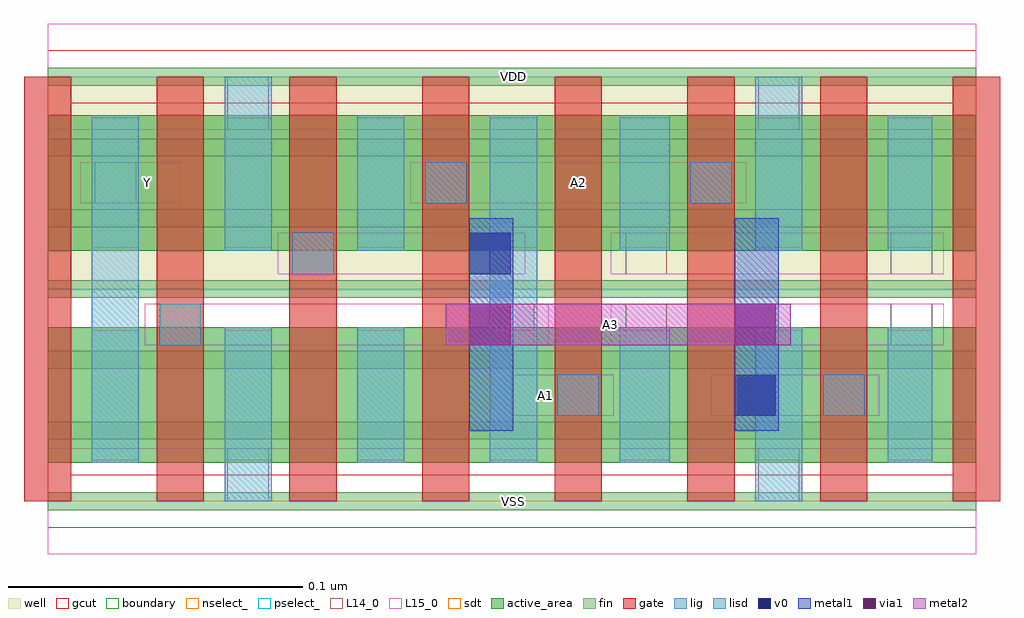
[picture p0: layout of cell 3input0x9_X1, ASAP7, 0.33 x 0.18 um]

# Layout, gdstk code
import gdstk
lib = gdstk.Library(unit=1e-6, precision=1e-09)
def R(c, l, rs):  # rectangles x0, y0, x1, y1
    for r in rs: c.add(gdstk.rectangle(r[:2], r[2:], *l))
def A(c, l, x, y, w, h, nx, ny, dx, dy):  # array of equal rectangles
    R(c, l, [(x+i*dx, y+j*dy, x+i*dx+w, y+j*dy+h) for i in range(nx) for j in range(ny)])
def P(c, l, *ps):  # polygons
    for p in ps: c.add(gdstk.Polygon(p, *l))
well = (1, 0)
fin = (2, 0)
gate = (7, 0)
gcut = (10, 0)
active_area = (11, 0)
nselect_ = (12, 0)
pselect_ = (13, 0)
L14_0 = (14, 0)
L15_0 = (15, 0)
lig = (16, 0)
lisd = (17, 0)
v0 = (18, 0)
metal1 = (19, 0)
metal2 = (20, 0)
via1 = (21, 0)
sdt = (88, 0)
boundary = (100, 0)

c_3input0x9_x1 = lib.new_cell('3input0x9_X1')
R(c_3input0x9_x1, well, [(0,0.072,0.315,0.144)])
A(c_3input0x9_x1, fin, 0, -0.003, 0.315, 0.006, 1, 7, 0, 0.024)
A(c_3input0x9_x1, gate, -0.008, 0, 0.016, 0.144, 8, 1, 0.045, 0)
P(c_3input0x9_x1, gcut, [(0,-0.009),(0,0),(-0.008,0),(-0.008,0.135),(0.008,0.135),(0.008,0.009),(0.307,0.009),(0.307,0.135),(-0.008,0.135),(-0.008,0.144),(0,0.144),(0,0.153),(0.315,0.153),(0.315,0.144),(0.323,0.144),(0.323,0),(0.315,0),(0.315,-0.009)])
R(c_3input0x9_x1, active_area, [(0,0.013,0.315,0.059), (0,0.085,0.315,0.131)])
R(c_3input0x9_x1, nselect_, [(0,0,0.315,0.072)])
R(c_3input0x9_x1, pselect_, [(0,0.072,0.315,0.144)])
R(c_3input0x9_x1, L14_0, [(0.061,0,0.075,0.018), (0.241,0,0.255,0.018), (0.173,0.029,0.187,0.043), (0.263,0.029,0.277,0.043), (0.038,0.053,0.052,0.067), (0.15,0.053,0.165,0.067), (0.196,0.053,0.21,0.067), (0.286,0.053,0.3,0.067), (0.083,0.077,0.097,0.091), (0.196,0.077,0.21,0.091), (0.286,0.077,0.3,0.091), (0.016,0.101,0.03,0.115), (0.128,0.101,0.142,0.115), (0.218,0.101,0.232,0.115), (0.061,0.126,0.075,0.144), (0.241,0.126,0.255,0.144)])
R(c_3input0x9_x1, L15_0, [(0,-0.018,0.315,0.018), (0.158,0.029,0.192,0.043), (0.225,0.029,0.282,0.043), (0.033,0.053,0.17,0.067), (0.191,0.053,0.304,0.067), (0.078,0.077,0.162,0.091), (0.191,0.077,0.304,0.091), (0.011,0.101,0.045,0.115), (0.123,0.101,0.237,0.115), (0,0.126,0.315,0.162)])
R(c_3input0x9_x1, lig, [(0.173,0.029,0.187,0.043), (0.263,0.029,0.277,0.043), (0.038,0.053,0.052,0.067), (0.083,0.077,0.097,0.091), (0.128,0.101,0.142,0.115), (0.218,0.101,0.232,0.115)])
R(c_3input0x9_x1, lisd, [(0.06,0,0.076,0.059), (0.24,0,0.256,0.059), (0.015,0.013,0.031,0.131), (0.105,0.013,0.121,0.059), (0.15,0.013,0.166,0.131), (0.194,0.013,0.211,0.059), (0.285,0.013,0.3,0.059), (0.06,0.085,0.076,0.144), (0.105,0.085,0.121,0.131), (0.194,0.085,0.211,0.131), (0.24,0.085,0.256,0.144), (0.285,0.085,0.3,0.131)])
R(c_3input0x9_x1, v0, [(0.233,0.029,0.247,0.043), (0.143,0.077,0.157,0.091)])
R(c_3input0x9_x1, metal1, [(0.143,0.024,0.158,0.096), (0.233,0.024,0.248,0.096)])
R(c_3input0x9_x1, metal2, [(0.135,0.053,0.252,0.067)])
R(c_3input0x9_x1, via1, [(0.143,0.053,0.157,0.067), (0.233,0.053,0.247,0.067)])
A(c_3input0x9_x1, sdt, 0.015, 0.014, 0.016, 0.044, 4, 2, 0.045, 0.072)
R(c_3input0x9_x1, sdt, [(0.194,0.014,0.211,0.058), (0.24,0.014,0.256,0.058), (0.285,0.014,0.3,0.058), (0.194,0.086,0.211,0.13), (0.24,0.086,0.256,0.13), (0.285,0.086,0.3,0.13)])
R(c_3input0x9_x1, boundary, [(0,0,0.315,0.144)])
c_3input0x9_x1.add(gdstk.Label('A1', (0.169,0.036), layer=15, texttype=251))
c_3input0x9_x1.add(gdstk.Label('VSS', (0.158,0), layer=15, texttype=251))
c_3input0x9_x1.add(gdstk.Label('VDD', (0.158,0.144), layer=15, texttype=251))
c_3input0x9_x1.add(gdstk.Label('A2', (0.18,0.108), layer=15, texttype=251))
c_3input0x9_x1.add(gdstk.Label('VSS', (0.158,0), layer=15, texttype=251))
c_3input0x9_x1.add(gdstk.Label('VDD', (0.158,0.144), layer=15, texttype=251))
c_3input0x9_x1.add(gdstk.Label('VSS', (0.158,0), layer=15, texttype=251))
c_3input0x9_x1.add(gdstk.Label('VDD', (0.158,0.144), layer=15, texttype=251))
c_3input0x9_x1.add(gdstk.Label('Y', (0.034,0.108), layer=15, texttype=251))
c_3input0x9_x1.add(gdstk.Label('VSS', (0.158,0), layer=15, texttype=251))
c_3input0x9_x1.add(gdstk.Label('VDD', (0.158,0.144), layer=15, texttype=251))
c_3input0x9_x1.add(gdstk.Label('VSS', (0.158,0), layer=3, texttype=251))
c_3input0x9_x1.add(gdstk.Label('VSS', (0.158,0), layer=3, texttype=251))
c_3input0x9_x1.add(gdstk.Label('VSS', (0.158,0), layer=3, texttype=251))
c_3input0x9_x1.add(gdstk.Label('VSS', (0.158,0), layer=3, texttype=251))
c_3input0x9_x1.add(gdstk.Label('VDD', (0.158,0.144), layer=1, texttype=251))
c_3input0x9_x1.add(gdstk.Label('VDD', (0.158,0.144), layer=1, texttype=251))
c_3input0x9_x1.add(gdstk.Label('VDD', (0.158,0.144), layer=1, texttype=251))
c_3input0x9_x1.add(gdstk.Label('VDD', (0.158,0.144), layer=1, texttype=251))
c_3input0x9_x1.add(gdstk.Label('A3', (0.191,0.06), layer=20, texttype=251))

lib.write_gds('3input0x9_X1.gds')
